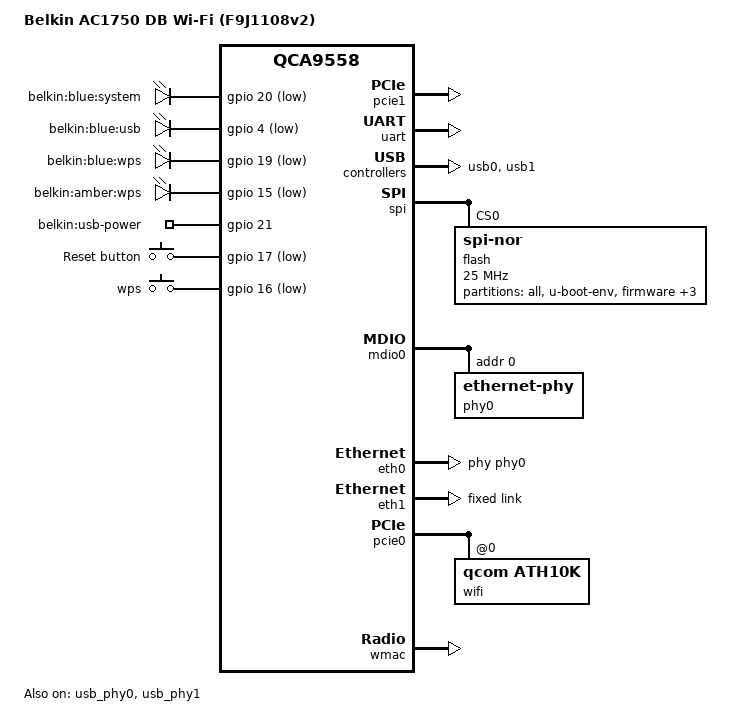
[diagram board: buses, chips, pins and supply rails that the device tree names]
// SPDX-License-Identifier: GPL-2.0-or-later OR MIT
/dts-v1/;

#include <dt-bindings/gpio/gpio.h>
#include <dt-bindings/input/input.h>

#include "qca955x.dtsi"

/ {
	model = "Belkin AC1750 DB Wi-Fi (F9J1108v2)";
	compatible = "belkin,f9j1108-v2", "qca,qca9558";

	aliases {
		led-boot = &led_system;
		led-failsafe = &led_system;
		led-running = &led_system;
		led-upgrade = &led_system;
		label-mac-device = &eth1;
	};
	
	leds {
		compatible = "gpio-leds";

		led_system: system {
			label = "belkin:blue:system";
			gpios = <&gpio 20 GPIO_ACTIVE_LOW>;
		};

		usb {
			label = "belkin:blue:usb";
			gpios = <&gpio 4 GPIO_ACTIVE_LOW>;
			trigger-sources = <&hub_port1>;
			linux,default-trigger = "usbport";
		};

		wps-blue {
			label = "belkin:blue:wps";
			gpios = <&gpio 19 GPIO_ACTIVE_LOW>;
		};
		
		wps-amber {
			label = "belkin:amber:wps";
			gpios = <&gpio 15 GPIO_ACTIVE_LOW>;
		};
	};
	
	gpio-export {
		compatible = "gpio-export";
		#size-cells = <0>;

		gpio_usb_power {
			gpio-export,name = "belkin:usb-power";
			gpio-export,output = <1>;
			gpios = <&gpio 21 GPIO_ACTIVE_HIGH>;
		};
	};

	keys {
		compatible = "gpio-keys";

		reset {
			label = "Reset button";
			linux,code = <KEY_RESTART>;
			gpios = <&gpio 17 GPIO_ACTIVE_LOW>;
			debounce-interval = <60>;
		};
		
		wps {
			label = "wps";
			linux,code = <KEY_WPS_BUTTON>;
			gpios = <&gpio 16 GPIO_ACTIVE_LOW>;
			debounce-interval = <60>;
		};
	};
};

&pcie1 {
	status = "okay";
};

&uart {
	status = "okay";
};

&usb_phy0 {
	status = "okay";
};

&usb0 {
	#address-cells = <1>;
	#size-cells = <0>;
	status = "okay";

	hub_port0: port@1 {
		reg = <1>;
		#trigger-source-cells = <0>;
	};
};

&usb_phy1 {
	status = "okay";
};

&usb1 {
	#address-cells = <1>;
	#size-cells = <0>;
	status = "okay";

	hub_port1: port@1 {
		reg = <1>;
		#trigger-source-cells = <0>;
	};
};

&spi {
	status = "okay";

	num-cs = <1>;

	flash@0 {
		compatible = "jedec,spi-nor";
		reg = <0>;
		spi-max-frequency = <25000000>;

		mtdparts: partitions {
			compatible = "fixed-partitions";
			#address-cells = <1>;
			#size-cells = <1>;
		};
	};
};

&mdio0 {
	status = "okay";

	phy0: ethernet-phy@0 {
		reg = <0>;

		qca,ar8327-initvals = <
			0x04 0x00080080 /* PORT0 PAD MODE CTRL */
			0x0c 0x07600000 /* PORT6 PAD MODE CTRL */
			0x50 0xc737c737 /* LED_CTRL0 */
			0x54 0x00000000 /* LED_CTRL1 */
			0x58 0x00000000 /* LED_CTRL2 */
			0x5c 0x0030c300 /* LED_CTRL3 */
			0x7c 0x0000007e /* PORT0_STATUS */
			0x94 0x0000007e /* PORT6 STATUS */
			>;
	};
};

&eth0 {
	status = "okay";

	mtd-mac-address = <&uboot 0x1fc00>;
	mtd-mac-address-increment = <1>;
	phy-handle = <&phy0>;
	pll-data = <0x56000000 0x00000101 0x00001616>;

	gmac-config {
		device = <&gmac>;
		rgmii-enabled = <1>;
	};
};

&eth1 {
	status = "okay";

	mtd-mac-address = <&uboot 0x1fc00>;
	pll-data = <0x03000101 0x00000101 0x00001616>;

	fixed-link {
		speed = <1000>;
		full-duplex;
	};
};

&pcie0 {
	status = "okay";

	wifi@0,0 {
		compatible = "qcom,ath10k";
		reg = <0 0 0 0 0>;
	};
};

&wmac {
	status = "okay";

	mtd-cal-data = <&art 0x1000>;
	mtd-mac-address = <&uboot 0x1fc00>;
};

&mtdparts {
	uboot: partition@0 {
		label = "u-boot";
		reg = <0x000000 0x040000>;
		read-only;
	};

	partition@40000 {
		label = "u-boot-env";
		reg = <0x040000 0x010000>;
	};
	
	partition@50000 {
		compatible = "denx,uimage";
		label = "firmware";
		reg = <0x050000 0xe20000>;
	};

	partition@550000 {
		label = "rootfs";
		reg = <0x550000 0x920000>;
	};
	
	partition@e70000 {
		label = "loader";
		reg = <0xe70000 0x180000>;
	};
	
	art: partition@ff0000 {
		label = "art";
		reg = <0xff0000 0x010000>;
	};
	
	partition@0 {
		label = "all";
		reg = <0x000000 0xff0000>;
	};
};
